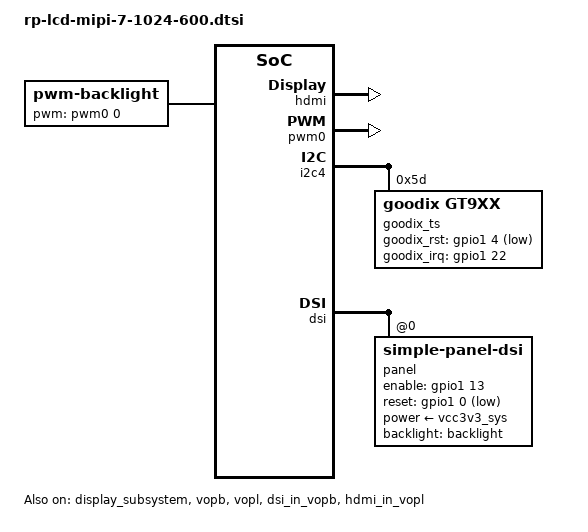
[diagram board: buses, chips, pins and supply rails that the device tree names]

/ {
	
	backlight: backlight {
		status = "okay";
		compatible = "pwm-backlight";
		pwms = <&pwm0 0 25000 0>;
		brightness-levels = <
			  0   1   2   3   4   5   6   7
			  8   9  10  11  12  13  14  15
			 16  17  18  19  20  21  22  23
			 24  25  26  27  28  29  30  31
			 32  33  34  35  36  37  38  39
			 40  41  42  43  44  45  46  47
			 48  49  50  51  52  53  54  55
			 56  57  58  59  60  61  62  63
			 64  65  66  67  68  69  70  71
			 72  73  74  75  76  77  78  79
			 80  81  82  83  84  85  86  87
			 88  89  90  91  92  93  94  95
			 96  97  98  99 100 101 102 103
			104 105 106 107 108 109 110 111
			112 113 114 115 116 117 118 119
			120 121 122 123 124 125 126 127
			128 129 130 131 132 133 134 135
			136 137 138 139 140 141 142 143
			144 145 146 147 148 149 150 151
			152 153 154 155 156 157 158 159
			160 161 162 163 164 165 166 167
			168 169 170 171 172 173 174 175
			176 177 178 179 180 181 182 183
			184 185 186 187 188 189 190 191
			192 193 194 195 196 197 198 199
			200 201 202 203 204 205 206 207
			208 209 210 211 212 213 214 215
			216 217 218 219 220 221 222 223
			224 225 226 227 228 229 230 231
			232 233 234 235 236 237 238 239
			240 241 242 243 244 245 246 247
			248 249 250 251 252 253 254 255>;
		default-brightness-level = <255>;
	};

	//bill  
        rpdzkj_config {
                compatible = "rp_config";
                user_version = "rpdzkj";
                system_rotate = "0";
                back_camera_rotate = "0";
                front_camera_rotate = "0";
                lcd_density = "160";
                language = "zh-CN";   //zh-CN //en-US
                time_zone = "Asia/Shanghai"; //Asia/Shanghai = +8   //Europe/London  = +0
                not_navigation_bar = "false";
                not_status_bar = "false";
                default_launcher = "true";
                has_root = "true";  //true//false
                usb_not_permission = "true";  
                usb_camera_only_front = "false";
                gps_use = "false";
                gps_serial_port = "/dev/ttyS4"; //UART4
                status = "okay";
        };

};


&hdmi {
	#address-cells = <1>;
	#size-cells = <0>;
	#sound-dai-cells = <0>;
	ddc-i2c-scl-high-time-ns = <9625>;
	ddc-i2c-scl-low-time-ns = <10000>;
	status = "okay";
};

&pwm0 {
	status = "okay";
};

&i2c4 {
        status = "okay";
	
	goodix_ts@5d {
		compatible = "goodix,gt9xx";
		reg = <0x5d>;
		
		goodix_rst_gpio = <&gpio1 4 GPIO_ACTIVE_LOW>;
		goodix_irq_gpio = <&gpio1 22 IRQ_TYPE_EDGE_RISING>;
	
	        goodix,cfg-group0 = [	//old touch
                        41 00 04 58 02 05 7D 00 01 2F 28 
                        0F 50 32 03 05 00 00 00 00 00 00 
                        00 18 1A 1E 14 89 0D 0C 2C 2A 0C 
                        08 00 00 00 82 03 1D 0A 32 05 0A 
                        32 00 00 00 00 00 0B 1E 50 94 E5 
                        02 08 00 00 04 A7 21 00 8B 28 00 
                        73 31 00 62 3B 00 52 48 00 52 00 
                        00 00 00 00 00 00 00 00 00 00 00 
                        00 00 00 00 00 00 00 00 00 00 00 
                        00 00 00 00 00 00 00 00 32 50 00 
                        00 00 1C 1A 18 16 14 12 10 0E 0C 
                        0A 08 06 04 02 00 00 00 00 00 00 
                        00 00 00 00 00 00 00 00 00 00 2A 
                        29 28 26 24 22 21 20 1F 1E 1D 18 
                        16 14 13 12 10 0F 0C 0A 08 06 FF 
                        FF FF FF 00 00 00 00 00 00 00 00 
                        00 00 00 00 00 00 00 00 3B 01
		];	
                goodix,cfg-group5 = [	//new touch
			 FF 00 04 58 02 05 0D 04 01
			 0A 28 0A 50 32 03 05 00 00
			 00 00 00 00 08 00 00 00 00
			 8B 2B 0E 30 32 0F 0A 00 00
			 00 83 02 1D 00 00 00 00 00
			 03 03 32 00 00 00 24 60 94
			 C0 02 00 00 00 04 93 27 00
			 80 30 00 70 3B 00 65 47 00
			 5C 57 00 5C 00 00 00 00 00
			 00 00 00 00 00 00 00 00 00
			 00 00 00 00 00 00 00 00 00
			 00 00 00 00 00 00 00 00 00
			 00 00 00 00 1C 1A 18 16 14
			 12 10 0E 0C 0A 08 06 04 02
			 00 00 00 00 00 00 00 00 00
			 00 00 00 00 00 00 00 26 24
			 22 21 20 1F 1E 1D 1C 18 16
			 13 12 10 0F 0C 0A 08 06 04
			 02 00 FF FF FF FF 00 00 00
			 00 00 00 00 00 00 00 00 00
			 00 00 00 00 6A 01
			 ];

	};
};

&display_subsystem {
	status = "okay";
	ports = <&vopb_out>, <&vopl_out>;
	logo-memory-region = <&drm_logo>;

	route {
		route_hdmi: route-hdmi {
			status = "disabled";
			logo,uboot = "logo.bmp";
			logo,kernel = "logo_kernel.bmp";
                        logo,mode = "center";
			charge_logo,mode = "center";
			connect = <&vopl_out_hdmi>;
		};

		route_dsi: route-dsi {
			status = "okay";
			logo,uboot = "logo.bmp";
			logo,kernel = "logo_kernel.bmp";
			logo,mode = "center";
			charge_logo,mode = "center";
			connect = <&vopb_out_dsi>;
		};

		route_dsi1: route-dsi1 {
			status = "disabled";
			logo,uboot = "logo.bmp";
			logo,kernel = "logo_kernel.bmp";
			logo,mode = "fullscreen";
			charge_logo,mode = "center";
			connect = <&vopl_out_dsi1>;
		};

		route_edp: route-edp {
			status = "disabled";
			logo,uboot = "logo.bmp";
			logo,kernel = "logo_kernel.bmp";
			logo,mode = "fullscreen";
			charge_logo,mode = "center";
			connect = <&vopb_out_edp>;
		};
	};
};

&dsi {
        status = "okay";
	
	panel {
		compatible ="simple-panel-dsi"; 
		status = "okay"; 
		reg = <0>; 
		power-supply = <&vcc3v3_sys>; 
		backlight = <&backlight>; 
		cmd_later_reset = <0>; 
		prepare-delay-ms = <100>;
		reset-delay-ms = <10>;
		init-delay-ms = <100>;
		enable-delay-ms = <120>;
		disable-delay-ms = <50>;
		unprepare-delay-ms = <20>;
		enable-gpios = <&gpio1 13 GPIO_ACTIVE_HIGH>; 
		reset-gpios  = <&gpio1 0 GPIO_ACTIVE_LOW>; 
		dsi,flags = <(MIPI_DSI_MODE_VIDEO | MIPI_DSI_MODE_VIDEO_BURST | MIPI_DSI_MODE_LPM|MIPI_DSI_MODE_EOT_PACKET)>; 
		dsi,format = <MIPI_DSI_FMT_RGB888>; 
//		bus-format = <MEDIA_BUS_FMT_RGB666_1X24>;
                dsi,lanes = <4>;

					//for king/rp/rd board cannot enable boot logo
                                        pinctrl-names = "default";
                                        pinctrl-0 = <&pwr_en>;
               	panel-init-sequence = [
			
                        05 78 01 11
                        05 78 01 29
                ];

                panel-exit-sequence = [
                        05 00 01 28
                        05 78 01 10
                ];

                display-timings {
                        native-mode = <&timing0>;
                        timing0: timing0 {
                                clock-frequency = <51000000>;
                                hactive = <1024>;
                                vactive = <600>;
                                hback-porch = <160>;
                                hfront-porch = <136>;
                                vback-porch = <16>;
                                vfront-porch = <16>;
                                hsync-len = <4>;
                                vsync-len = <2>;
                                hsync-active = <0>;
                                vsync-active = <0>;
                                de-active = <0>;
                                pixelclk-active = <0>;
                        };
                        timing1: timing1 {
                                clock-frequency = <148000000>;
                                hactive = <1920>;
                                vactive = <1080>;
                                hback-porch = <100>;
                                hfront-porch = <160>;
                                vback-porch = <25>;
                                vfront-porch = <10>;
                                hsync-len = <20>;
                                vsync-len = <10>;
                                hsync-active = <0>;
                                vsync-active = <0>;
                                de-active = <0>;
                                pixelclk-active = <1>;
                        };
                };
        };
};

&vopb {
        assigned-clocks = <&cru DCLK_VOP0_DIV>;
        assigned-clock-parents = <&cru PLL_CPLL>;
        //assigned-clock-parents = <&cru PLL_VPLL>;
        status = "okay";
};

&vopb_mmu {
        status = "okay";
};

&vopl {
        assigned-clocks = <&cru DCLK_VOP1_DIV>;
        assigned-clock-parents = <&cru PLL_VPLL>;
        //assigned-clock-parents = <&cru PLL_CPLL>;
        status = "okay";
};

&vopl_mmu {
        status = "okay";
};

&dsi_in_vopl { 
        status = "disabled"; 
}; 

&dsi_in_vopb {
	status = "okay";
}; 

&hdmi_in_vopb { 
        status = "disabled"; 
}; 
 
&hdmi_in_vopl {
	status = "okay";
};

&edp_in_vopb { 
        status = "disabled"; 
}; 
&edp_in_vopl { 
        status = "disabled"; 
}; 

&dsi1_in_vopb { 
        status = "disabled"; 
}; 
&dsi1_in_vopl { 
        status = "disabled"; 
}; 

&pinctrl{
        pwr_5v {
                        pwr_en: pwr-en {
                                rockchip,pins = //<1 13 RK_FUNC_GPIO &pcfg_pull_up>,
                                                <4 30 RK_FUNC_GPIO &pcfg_pull_up>;
                        };
        };
};
